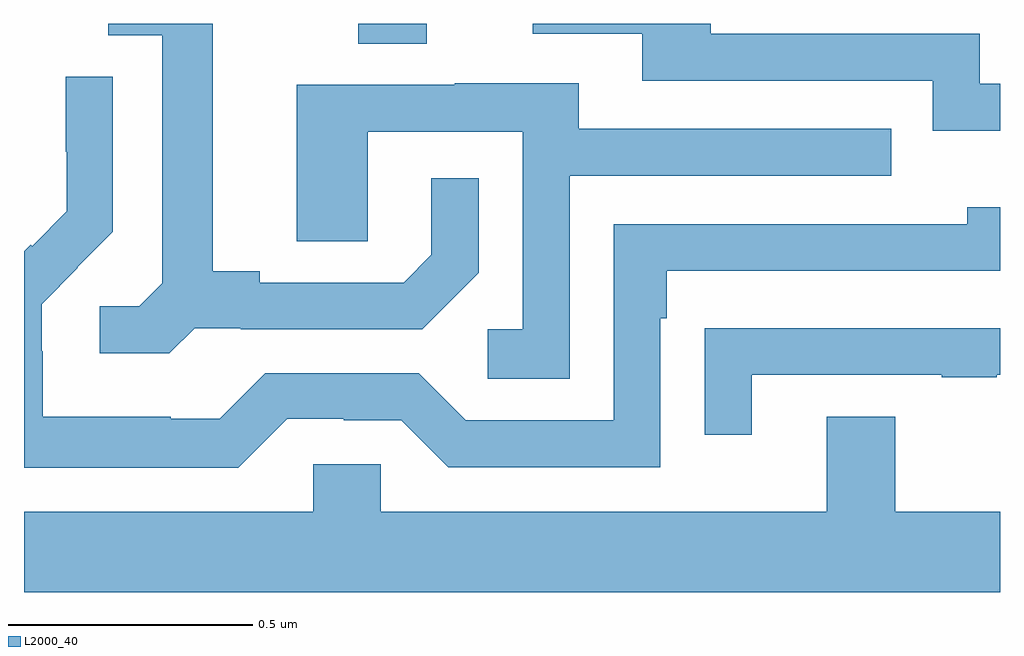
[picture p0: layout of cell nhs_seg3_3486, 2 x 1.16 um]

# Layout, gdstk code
import gdstk
lib = gdstk.Library(unit=1e-6, precision=1e-09)
def R(c, l, rs):  # rectangles x0, y0, x1, y1
    for r in rs: c.add(gdstk.rectangle(r[:2], r[2:], *l))
def P(c, l, *ps):  # polygons
    for p in ps: c.add(gdstk.Polygon(p, *l))
L2000_40 = (2000, 40)

nhs_seg3_3486 = lib.new_cell('nhs_seg3_3486')
R(nhs_seg3_3486, L2000_40, [(154.685,715.36,154.825,715.4)])
P(nhs_seg3_3486, L2000_40, [(156,715.278),(155.958,715.278),(155.958,715.38),(155.407,715.38),(155.407,715.4),(155.043,715.4),(155.043,715.38),(155.267,715.38),(155.267,715.284),(155.862,715.284),(155.862,715.181),(156,715.181)],
  [(154.35,714.777),(154.444,714.777),(154.444,714.774),(154.816,714.774),(154.932,714.89),(154.932,715.084),(154.835,715.084),(154.835,714.927),(154.778,714.87),(154.483,714.87),(154.483,714.893),(154.387,714.893),(154.387,715.4),(154.173,715.4),(154.173,715.377),(154.283,715.377),(154.283,714.869),(154.236,714.822),(154.155,714.822),(154.155,714.725),(154.298,714.725)],
  [(154.539,714.591),(154.655,714.591),(154.655,714.588),(154.773,714.588),(154.869,714.492),(155.304,714.492),(155.304,714.797),(155.317,714.797),(155.317,714.894),(156,714.894),(156,715.024),(155.933,715.024),(155.933,714.99),(155.208,714.99),(155.208,714.588),(154.905,714.588),(154.809,714.684),(154.494,714.684),(154.401,714.591),(154.301,714.591),(154.301,714.595),(154.038,714.595),(154.038,714.729),(154.036,714.729),(154.036,714.826),(154.11,714.9),(154.109,714.901),(154.182,714.974),(154.182,715.292),(154.086,715.292),(154.086,715.138),(154.088,715.138),(154.088,715.016),(154.017,714.945),(154.014,714.948),(154,714.934),(154,714.491),(154.439,714.491)],
  [(155.118,715.089),(155.777,715.089),(155.777,715.185),(155.137,715.185),(155.137,715.279),(154.883,715.279),(154.883,715.275),(154.559,715.275),(154.559,714.955),(154.704,714.955),(154.704,715.179),(155.022,715.179),(155.022,714.774),(154.95,714.774),(154.95,714.673),(155.118,714.673)],
  [(155.491,714.681),(155.881,714.681),(155.881,714.676),(155.993,714.676),(155.993,714.681),(156,714.681),(156,714.777),(155.497,714.777),(155.497,714.776),(155.395,714.776),(155.395,714.558),(155.491,714.558)],
  [(156,714.4),(155.785,714.4),(155.785,714.595),(155.645,714.595),(155.645,714.4),(154.731,714.4),(154.731,714.498),(154.593,714.498),(154.593,714.4),(154,714.4),(154,714.236),(156,714.236)])

lib.write_gds('nhs_seg3_3486.gds')
